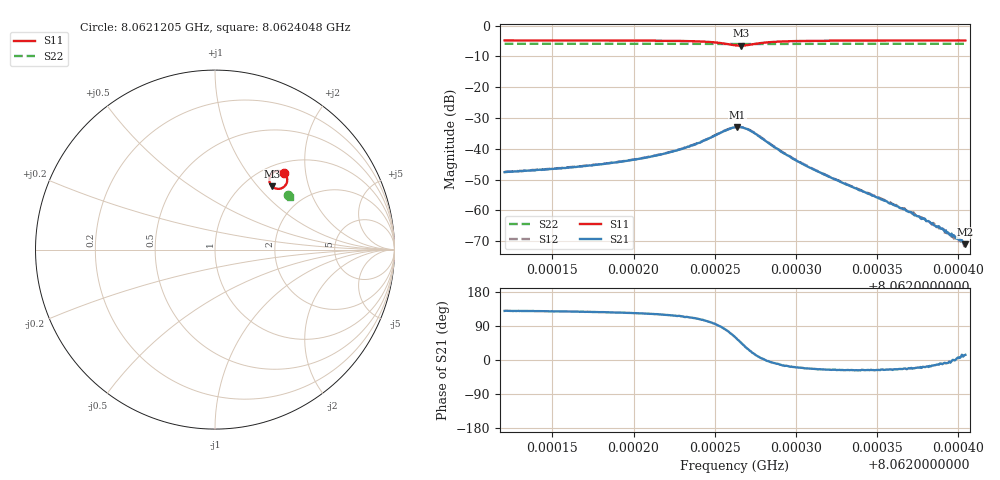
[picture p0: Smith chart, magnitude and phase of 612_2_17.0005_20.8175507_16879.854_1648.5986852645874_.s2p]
#  HZ  S  RI  R  50.00
! Rohde & Schwarz Vector Network Analyzer
! Rohde-Schwarz,ZNB20-2Port,1311601062101988,3.16
! Created: UTC 3/20/2024, 11:19:28 PM
! freq[Hz]  re:S11  im:S11  re:S21  im:S21  re:S12  im:S12  re:S22  im:S22
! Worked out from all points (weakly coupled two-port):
!   401 points, 8.0621205 GHz to 8.0624048 GHz, reference 50 ohm
!   highest |S21| = -32.90 dB at 8.062264 GHz (marker M1); lowest = -71.0 dB at 8.0624048 GHz (marker M2)
!   lowest |S11| = -6.5 dB at 8.0622662 GHz (marker M3), VSWR 2.81, Z = 65.8 + j59.8 ohm
!   |S11| at or under -10 dB: nowhere
!   |S22| runs from -6.0 to -5.9 dB; largest |S21 - S12| = 0.0014
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8.06212046e9  0.3854 0.4278  -0.00267 0.00322  -0.0025 0.00342  0.4069 0.3046
8.06216808e9  0.3909 0.4217  -0.00318 0.00413  -0.00293 0.00434  0.4088 0.3022
8.06219153e9  0.3946 0.4167  -0.00355 0.00504  -0.00325 0.00529  0.4095 0.3008
8.0622157e9  0.3992 0.4076  -0.00407 0.00685  -0.00368 0.0072  0.4105 0.2991
8.06222849e9  0.4019 0.3984  -0.00433 0.00876  -0.00376 0.00911  0.4109 0.2981
8.06223773e9  0.4028 0.3877  -0.00409 0.011  -0.00345 0.0114  0.4111 0.2973
8.06225266e9  0.3895 0.3548  -0.000128 0.0177  0.000937 0.0178  0.4105 0.2953
8.06226261e9  0.3405 0.3401  0.0109 0.0195  0.0122 0.019  0.4084 0.2948
8.06226403e9  0.3311 0.3435  0.0131 0.0185  0.0141 0.018  0.4082 0.2949
8.06226616e9  0.3182 0.3522  0.0158 0.0161  0.0166 0.0155  0.4078 0.2955
8.06227256e9  0.3026 0.3911  0.018 0.00732  0.0186 0.00634  0.4079 0.2969
8.06228251e9  0.3224 0.4284  0.0129 -0.00061  0.013 -0.00137  0.4095 0.298
8.06229246e9  0.3423 0.4377  0.0083 -0.00211  0.00823 -0.00259  0.4109 0.2976
8.06231022e9  0.3613 0.438  0.00437 -0.00187  0.00429 -0.00215  0.4123 0.2966
8.06233439e9  0.3729 0.4347  0.00219 -0.00109  0.00214 -0.00125  0.4135 0.2951
8.06235784e9  0.3789 0.4316  0.00119 -0.000548  0.00122 -0.000644  0.4146 0.2937
8.06237064e9  0.3813 0.4304  0.000877 -0.000363  0.00084 -0.000403  0.4151 0.293
8.06237419e9  0.3819 0.43  0.000786 -0.000295  0.000778 -0.000348  0.4153 0.2928
8.06238912e9  0.384 0.4285  0.000508 -8.15e-05  0.0005 -0.000167  0.4158 0.292
8.06239907e9  0.3853 0.4275  0.000349 1.42e-05  0.000369 -2.11e-05  0.4161 0.2914
8.06240262e9  0.3857 0.4274  0.000318 7.93e-05  0.000344 4.58e-05  0.4163 0.2912
8.06240475e9  0.386 0.4271  0.000274 6.64e-05  0.000329 6.59e-05  0.4164 0.2911
